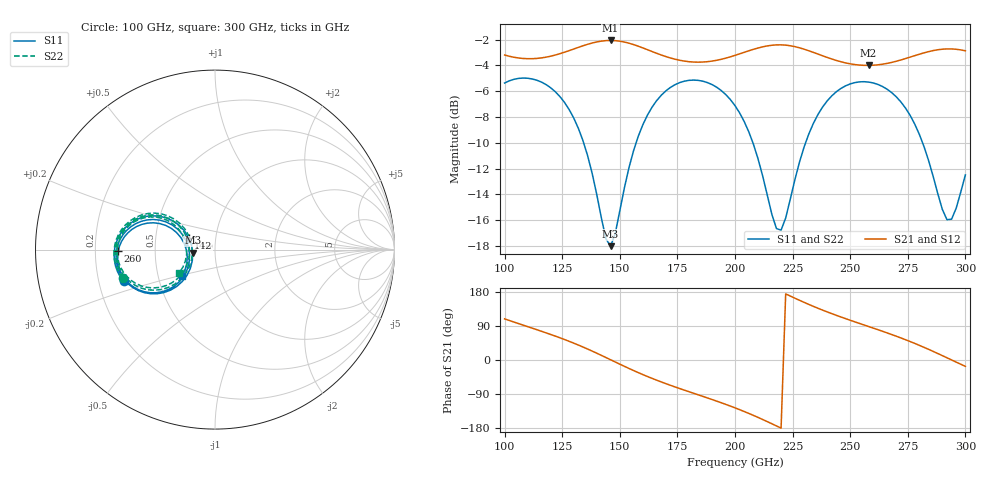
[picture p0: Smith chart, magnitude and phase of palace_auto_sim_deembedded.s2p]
! Created with skrf 1.11.0 (http://scikit-rf.org).
# GHz S DB R 50.0
!freq dBS11 angS11 dBS21 angS21 dBS12 angS12 dBS22 angS22
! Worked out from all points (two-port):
!   101 points, 100 GHz to 300 GHz, reference 50 ohm
!   highest |S21| = -2.06 dB at 146 GHz (marker M1); lowest = -4.0 dB at 258 GHz (marker M2)
!   |S21| within 3 dB of the highest: start of sweep to end of sweep
!   lowest |S11| = -18.0 dB at 146 GHz (marker M3), VSWR 1.29, Z = 38.9 - j1.37 ohm
!   |S11| at or under -10 dB: 134.3 GHz to 157.1 GHz (22.8 GHz wide, 15.6 % of centre); 207.8 GHz to 230.6 GHz (22.88 GHz wide, 10.4 % of centre); 281.4 GHz to end of sweep
!   |S22| runs from -17.9 to -5.0 dB; largest |S21 - S12| = 8.7e-14
!   S11 on the Smith chart (normalised r, x): 100 GHz: 0.31, -0.15; 142 GHz: 0.74, +0.10; 260 GHz: 0.30, -0.01; 300 GHz: 0.66, -0.21
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100  -5.36 -160.9  -3.19 108.6  -3.19 108.6  -5.37 -162.9
116  -5.29 173.1  -3.42 75.8  -3.42 75.8  -5.30 170.9
126  -6.87 157.3  -2.97 54.0  -2.97 54.0  -6.87 154.9
134  -9.83 146.9  -2.48 34.3  -2.48 34.3  -9.83 144.3
142  -15.83 155.4  -2.11 12.3  -2.11 12.3  -15.79 152.8
146  -18.02 -172.1  -2.06 0.7  -2.06 0.7  -17.95 -175.0
158  -9.50 -137.6  -2.51 -33.2  -2.51 -33.2  -9.50 -141.0
168  -6.31 -151.8  -3.19 -57.9  -3.19 -57.9  -6.32 -155.3
184  -5.16 -176.9  -3.75 -91.8  -3.75 -91.8  -5.17 179.3
200  -7.12 159.1  -3.22 -126.3  -3.22 -126.3  -7.13 154.9
210  -11.24 150.1  -2.65 -151.5  -2.65 -151.5  -11.27 145.6
218  -16.65 176.4  -2.41 -174.0  -2.41 -174.0  -16.76 171.9
220  -16.77 -167.4  -2.40 -179.8  -2.40 -179.8  -16.88 -171.7
234  -8.50 -141.4  -2.99 141.6  -2.99 141.6  -8.52 -145.8
246  -5.78 -158.2  -3.72 113.4  -3.72 113.4  -5.79 -163.0
258  -5.29 -176.2  -4.00 88.3  -4.00 88.3  -5.30 178.8
260  -5.36 -179.1  -3.98 84.2  -3.98 84.2  -5.37 175.8
268  -6.11 169.2  -3.76 67.2  -3.76 67.2  -6.12 164.0
280  -9.34 154.8  -3.13 38.7  -3.13 38.7  -9.35 149.3
292  -15.96 -179.0  -2.72 5.8  -2.72 5.8  -15.96 175.2
296  -15.07 -153.4  -2.75 -5.6  -2.75 -5.6  -15.08 -159.2
300  -12.49 -141.1  -2.86 -16.8  -2.86 -16.8  -12.49 -147.1
